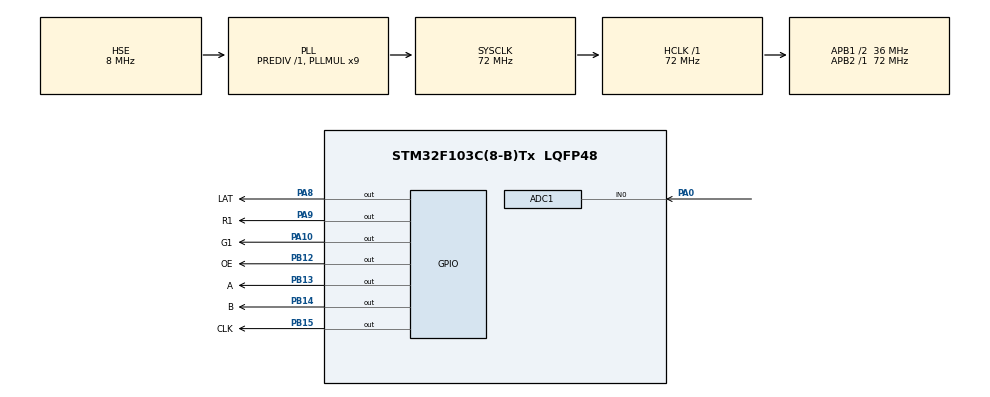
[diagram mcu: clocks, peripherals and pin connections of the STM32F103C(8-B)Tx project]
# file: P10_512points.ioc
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ADC1.Channel-0\#ChannelRegularConversion=ADC_CHANNEL_0
ADC1.NbrOfConversionFlag=1
ADC1.Rank-0\#ChannelRegularConversion=1
ADC1.SamplingTime-0\#ChannelRegularConversion=ADC_SAMPLETIME_1CYCLE_5
ADC1.master=1
Mcu.Family=STM32F1
Mcu.Name=STM32F103C(8-B)Tx
Mcu.Package=LQFP48
NVIC.PriorityGroup=NVIC_PRIORITYGROUP_4
NVIC.TIM2_IRQn=true\:0\:0\:false\:false\:true\:true
NVIC.TIM3_IRQn=true\:0\:0\:false\:false\:true\:true
PA0-WKUP.Signal=ADCx_IN0
PA10.GPIO_Label=G1
PA10.GPIO_ModeDefaultOutputPP=GPIO_MODE_OUTPUT_PP
PA10.GPIO_PuPd=GPIO_PULLUP
PA10.GPIO_Speed=GPIO_SPEED_FREQ_HIGH
PA10.PinState=GPIO_PIN_SET
PA10.Signal=GPIO_Output
PA13.Mode=Serial_Wire
PA13.Signal=SYS_JTMS-SWDIO
PA14.Mode=Serial_Wire
PA14.Signal=SYS_JTCK-SWCLK
PA8.GPIO_Label=LAT
PA8.GPIO_ModeDefaultOutputPP=GPIO_MODE_OUTPUT_PP
PA8.GPIO_PuPd=GPIO_PULLUP
PA8.GPIO_Speed=GPIO_SPEED_FREQ_HIGH
PA8.PinState=GPIO_PIN_SET
PA8.Signal=GPIO_Output
PA9.GPIO_Label=R1
PA9.GPIO_ModeDefaultOutputPP=GPIO_MODE_OUTPUT_PP
PA9.GPIO_PuPd=GPIO_PULLUP
PA9.GPIO_Speed=GPIO_SPEED_FREQ_HIGH
PA9.PinState=GPIO_PIN_SET
PA9.Signal=GPIO_Output
PB12.GPIO_Label=OE
PB12.GPIO_ModeDefaultOutputPP=GPIO_MODE_OUTPUT_PP
PB12.GPIO_PuPd=GPIO_PULLUP
PB12.GPIO_Speed=GPIO_SPEED_FREQ_HIGH
PB12.PinState=GPIO_PIN_SET
PB12.Signal=GPIO_Output
PB13.GPIO_Label=A
PB13.GPIO_ModeDefaultOutputPP=GPIO_MODE_OUTPUT_PP
PB13.GPIO_PuPd=GPIO_PULLUP
PB13.GPIO_Speed=GPIO_SPEED_FREQ_HIGH
PB13.PinState=GPIO_PIN_SET
PB13.Signal=GPIO_Output
PB14.GPIO_Label=B
PB14.GPIO_ModeDefaultOutputPP=GPIO_MODE_OUTPUT_PP
PB14.GPIO_PuPd=GPIO_PULLUP
PB14.GPIO_Speed=GPIO_SPEED_FREQ_HIGH
PB14.PinState=GPIO_PIN_SET
PB14.Signal=GPIO_Output
PB15.GPIO_Label=CLK
PB15.GPIO_ModeDefaultOutputPP=GPIO_MODE_OUTPUT_PP
PB15.GPIO_PuPd=GPIO_PULLUP
PB15.GPIO_Speed=GPIO_SPEED_FREQ_HIGH
PB15.PinState=GPIO_PIN_SET
PB15.Signal=GPIO_Output
PD0-OSC_IN.Mode=HSE-External-Oscillator
PD0-OSC_IN.Signal=RCC_OSC_IN
PD1-OSC_OUT.Mode=HSE-External-Oscillator
PD1-OSC_OUT.Signal=RCC_OSC_OUT
ProjectManager.HeapSize=0x200
ProjectManager.StackSize=0x400
ProjectManager.TargetToolchain=MDK-ARM V5
RCC.ADCPresc=RCC_ADCPCLK2_DIV6
RCC.AHBFreq_Value=72000000
RCC.APB1CLKDivider=RCC_HCLK_DIV2
RCC.APB1Freq_Value=36000000
RCC.APB1TimFreq_Value=72000000
RCC.APB2Freq_Value=72000000
RCC.APB2TimFreq_Value=72000000
RCC.HCLKFreq_Value=72000000
RCC.PLLMUL=RCC_PLL_MUL9
RCC.PLLSourceVirtual=RCC_PLLSOURCE_HSE
RCC.SYSCLKFreq_VALUE=72000000
RCC.SYSCLKSource=RCC_SYSCLKSOURCE_PLLCLK
RCC.USBFreq_Value=72000000
SH.ADCx_IN0.0=ADC1_IN0,IN0
TIM2.AutoReloadPreload=TIM_AUTORELOAD_PRELOAD_ENABLE
TIM2.Period=299
TIM2.Prescaler=72
TIM3.AutoReloadPreload=TIM_AUTORELOAD_PRELOAD_ENABLE
TIM3.Period=25
TIM3.Prescaler=72
VP_TIM2_VS_ClockSourceINT.Mode=Internal
VP_TIM3_VS_ClockSourceINT.Mode=Internal
board=custom

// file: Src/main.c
/**
  ******************************************************************************
  * @file           : main.c
  * @brief          : Main program body
  ******************************************************************************
  ** This notice applies to any and all portions of this file
  * that are not between comment pairs USER CODE BEGIN and
  * USER CODE END. Other portions of this file, whether
  * inserted by the user or by software development tools
  * are owned by their respective copyright owners.
  *
  * COPYRIGHT(c) 2018 STMicroelectronics
  *
  * Redistribution and use in source and binary forms, with or without modification,
  * are permitted provided that the following conditions are met:
  *   1. Redistributions of source code must retain the above copyright notice,
  *      this list of conditions and the following disclaimer.
  *   2. Redistributions in binary form must reproduce the above copyright notice,
  *      this list of conditions and the following disclaimer in the documentation
  *      and/or other materials provided with the distribution.
  *   3. Neither the name of STMicroelectronics nor the names of its contributors
  *      may be used to endorse or promote products derived from this software
  *      without specific prior written permission.
  *
  * THIS SOFTWARE IS PROVIDED BY THE COPYRIGHT HOLDERS AND CONTRIBUTORS "AS IS"
  * AND ANY EXPRESS OR IMPLIED WARRANTIES, INCLUDING, BUT NOT LIMITED TO, THE
  * IMPLIED WARRANTIES OF MERCHANTABILITY AND FITNESS FOR A PARTICULAR PURPOSE ARE
  * DISCLAIMED. IN NO EVENT SHALL THE COPYRIGHT HOLDER OR CONTRIBUTORS BE LIABLE
  * FOR ANY DIRECT, INDIRECT, INCIDENTAL, SPECIAL, EXEMPLARY, OR CONSEQUENTIAL
  * DAMAGES (INCLUDING, BUT NOT LIMITED TO, PROCUREMENT OF SUBSTITUTE GOODS OR
  * SERVICES; LOSS OF USE, DATA, OR PROFITS; OR BUSINESS INTERRUPTION) HOWEVER
  * CAUSED AND ON ANY THEORY OF LIABILITY, WHETHER IN CONTRACT, STRICT LIABILITY,
  * OR TORT (INCLUDING NEGLIGENCE OR OTHERWISE) ARISING IN ANY WAY OUT OF THE USE
  * OF THIS SOFTWARE, EVEN IF ADVISED OF THE POSSIBILITY OF SUCH DAMAGE.
  *
  ******************************************************************************
  */
#include "main.h"
#include "stm32f1xx_hal.h"
#include "adc.h"
#include "tim.h"
#include "gpio.h"

/* USER CODE BEGIN Includes */
#include <math.h>

#define PI      				 3.1415926535897
#define N_point     		 512
#define N_freq       		 N_point/2 // frequency N_freq = 0 is DC signal
#define FP_PRECISION 		 8
#define FP_MASK 			 	 ((1<<FP_PRECISION) - 1)
#define FP__MUL(A, B)    ((int16_t)(((int32_t)(A) * (int32_t)(B)) >> FP_PRECISION))

#define log2N 9

#define OE_DIS     HAL_GPIO_WritePin(OE_GPIO_Port,  OE_Pin,  GPIO_PIN_SET)
#define OE_EN      HAL_GPIO_WritePin(OE_GPIO_Port,  OE_Pin,  GPIO_PIN_RESET)
#define A_SET      HAL_GPIO_WritePin(A_GPIO_Port,   A_Pin,   GPIO_PIN_SET)
#define A_RESET    HAL_GPIO_WritePin(A_GPIO_Port,   A_Pin,   GPIO_PIN_RESET)
#define B_SET      HAL_GPIO_WritePin(B_GPIO_Port,   B_Pin,   GPIO_PIN_SET)
#define B_RESET    HAL_GPIO_WritePin(B_GPIO_Port,   B_Pin,   GPIO_PIN_RESET)
#define CLK_SET    HAL_GPIO_WritePin(CLK_GPIO_Port, CLK_Pin, GPIO_PIN_SET)
#define CLK_RESET  HAL_GPIO_WritePin(CLK_GPIO_Port, CLK_Pin, GPIO_PIN_RESET)
#define LAT_SET    HAL_GPIO_WritePin(LAT_GPIO_Port, LAT_Pin, GPIO_PIN_SET)
#define LAT_RESET  HAL_GPIO_WritePin(LAT_GPIO_Port, LAT_Pin, GPIO_PIN_RESET)
#define R1_SET     HAL_GPIO_WritePin(R1_GPIO_Port,  R1_Pin,  GPIO_PIN_SET)
#define R1_RESET   HAL_GPIO_WritePin(R1_GPIO_Port,  R1_Pin,  GPIO_PIN_RESET)
#define G1_SET     HAL_GPIO_WritePin(G1_GPIO_Port,  G1_Pin,  GPIO_PIN_SET)
#define G1_RESET   HAL_GPIO_WritePin(G1_GPIO_Port,  G1_Pin,  GPIO_PIN_RESET)

#define chonHang(h)  (0x02&h)?B_SET:B_RESET; \
                     (0x01&h)?A_SET:A_RESET; \
                      OE_EN

/* USER CODE END Includes */

/* USER CODE BEGIN PV */
/* Private variables ---------------------------------------------------------*/
uint8_t  LED1[16][32];
uint8_t  LED2[16][32];
int16_t xn[N_point];
//int16_t buffer[N_point];
uint8_t  sampleDone;
/* USER CODE END PV */

void SystemClock_Config(void);

/* USER CODE BEGIN PFP */
/* Private function prototypes -----------------------------------------------*/

/* USER CODE END PFP */

/* USER CODE BEGIN 0 */

const uint16_t bitRevTable512[512] =
{
    0x0000, 0x0100, 0x0080, 0x0180, 0x0040, 0x0140, 0x00C0, 0x01C0,
    0x0020, 0x0120, 0x00A0, 0x01A0, 0x0060, 0x0160, 0x00E0, 0x01E0,
    0x0010, 0x0110, 0x0090, 0x0190, 0x0050, 0x0150, 0x00D0, 0x01D0,
    0x0030, 0x0130, 0x00B0, 0x01B0, 0x0070, 0x0170, 0x00F0, 0x01F0,
    0x0008, 0x0108, 0x0088, 0x0188, 0x0048, 0x0148, 0x00C8, 0x01C8,
    0x0028, 0x0128, 0x00A8, 0x01A8, 0x0068, 0x0168, 0x00E8, 0x01E8,
    0x0018, 0x0118, 0x0098, 0x0198, 0x0058, 0x0158, 0x00D8, 0x01D8,
    0x0038, 0x0138, 0x00B8, 0x01B8, 0x0078, 0x0178, 0x00F8, 0x01F8,
    0x0004, 0x0104, 0x0084, 0x0184, 0x0044, 0x0144, 0x00C4, 0x01C4,
    0x0024, 0x0124, 0x00A4, 0x01A4, 0x0064, 0x0164, 0x00E4, 0x01E4,
    0x0014, 0x0114, 0x0094, 0x0194, 0x0054, 0x0154, 0x00D4, 0x01D4,
    0x0034, 0x0134, 0x00B4, 0x01B4, 0x0074, 0x0174, 0x00F4, 0x01F4,
    0x000C, 0x010C, 0x008C, 0x018C, 0x004C, 0x014C, 0x00CC, 0x01CC,
    0x002C, 0x012C, 0x00AC, 0x01AC, 0x006C, 0x016C, 0x00EC, 0x01EC,
    0x001C, 0x011C, 0x009C, 0x019C, 0x005C, 0x015C, 0x00DC, 0x01DC,
    0x003C, 0x013C, 0x00BC, 0x01BC, 0x007C, 0x017C, 0x00FC, 0x01FC,
    0x0002, 0x0102, 0x0082, 0x0182, 0x0042, 0x0142, 0x00C2, 0x01C2,
    0x0022, 0x0122, 0x00A2, 0x01A2, 0x0062, 0x0162, 0x00E2, 0x01E2,
    0x0012, 0x0112, 0x0092, 0x0192, 0x0052, 0x0152, 0x00D2, 0x01D2,
    0x0032, 0x0132, 0x00B2, 0x01B2, 0x0072, 0x0172, 0x00F2, 0x01F2,
    0x000A, 0x010A, 0x008A, 0x018A, 0x004A, 0x014A, 0x00CA, 0x01CA,
    0x002A, 0x012A, 0x00AA, 0x01AA, 0x006A, 0x016A, 0x00EA, 0x01EA,
    0x001A, 0x011A, 0x009A, 0x019A, 0x005A, 0x015A, 0x00DA, 0x01DA,
    0x003A, 0x013A, 0x00BA, 0x01BA, 0x007A, 0x017A, 0x00FA, 0x01FA,
    0x0006, 0x0106, 0x0086, 0x0186, 0x0046, 0x0146, 0x00C6, 0x01C6,
    0x0026, 0x0126, 0x00A6, 0x01A6, 0x0066, 0x0166, 0x00E6, 0x01E6,
    0x0016, 0x0116, 0x0096, 0x0196, 0x0056, 0x0156, 0x00D6, 0x01D6,
    0x0036, 0x0136, 0x00B6, 0x01B6, 0x0076, 0x0176, 0x00F6, 0x01F6,
    0x000E, 0x010E, 0x008E, 0x018E, 0x004E, 0x014E, 0x00CE, 0x01CE,
    0x002E, 0x012E, 0x00AE, 0x01AE, 0x006E, 0x016E, 0x00EE, 0x01EE,
    0x001E, 0x011E, 0x009E, 0x019E, 0x005E, 0x015E, 0x00DE, 0x01DE,
    0x003E, 0x013E, 0x00BE, 0x01BE, 0x007E, 0x017E, 0x00FE, 0x01FE,
    0x0001, 0x0101, 0x0081, 0x0181, 0x0041, 0x0141, 0x00C1, 0x01C1,
    0x0021, 0x0121, 0x00A1, 0x01A1, 0x0061, 0x0161, 0x00E1, 0x01E1,
    0x0011, 0x0111, 0x0091, 0x0191, 0x0051, 0x0151, 0x00D1, 0x01D1,
    0x0031, 0x0131, 0x00B1, 0x01B1, 0x0071, 0x0171, 0x00F1, 0x01F1,
    0x0009, 0x0109, 0x0089, 0x0189, 0x0049, 0x0149, 0x00C9, 0x01C9,
    0x0029, 0x0129, 0x00A9, 0x01A9, 0x0069, 0x0169, 0x00E9, 0x01E9,
    0x0019, 0x0119, 0x0099, 0x0199, 0x0059, 0x0159, 0x00D9, 0x01D9,
    0x0039, 0x0139, 0x00B9, 0x01B9, 0x0079, 0x0179, 0x00F9, 0x01F9,
    0x0005, 0x0105, 0x0085, 0x0185, 0x0045, 0x0145, 0x00C5, 0x01C5,
    0x0025, 0x0125, 0x00A5, 0x01A5, 0x0065, 0x0165, 0x00E5, 0x01E5,
    0x0015, 0x0115, 0x0095, 0x0195, 0x0055, 0x0155, 0x00D5, 0x01D5,
    0x0035, 0x0135, 0x00B5, 0x01B5, 0x0075, 0x0175, 0x00F5, 0x01F5,
    0x000D, 0x010D, 0x008D, 0x018D, 0x004D, 0x014D, 0x00CD, 0x01CD,
    0x002D, 0x012D, 0x00AD, 0x01AD, 0x006D, 0x016D, 0x00ED, 0x01ED,
    0x001D, 0x011D, 0x009D, 0x019D, 0x005D, 0x015D, 0x00DD, 0x01DD,
    0x003D, 0x013D, 0x00BD, 0x01BD, 0x007D, 0x017D, 0x00FD, 0x01FD,
    0x0003, 0x0103, 0x0083, 0x0183, 0x0043, 0x0143, 0x00C3, 0x01C3,
    0x0023, 0x0123, 0x00A3, 0x01A3, 0x0063, 0x0163, 0x00E3, 0x01E3,
    0x0013, 0x0113, 0x0093, 0x0193, 0x0053, 0x0153, 0x00D3, 0x01D3,
    0x0033, 0x0133, 0x00B3, 0x01B3, 0x0073, 0x0173, 0x00F3, 0x01F3,
    0x000B, 0x010B, 0x008B, 0x018B, 0x004B, 0x014B, 0x00CB, 0x01CB,
    0x002B, 0x012B, 0x00AB, 0x01AB, 0x006B, 0x016B, 0x00EB, 0x01EB,
    0x001B, 0x011B, 0x009B, 0x019B, 0x005B, 0x015B, 0x00DB, 0x01DB,
    0x003B, 0x013B, 0x00BB, 0x01BB, 0x007B, 0x017B, 0x00FB, 0x01FB,
    0x0007, 0x0107, 0x0087, 0x0187, 0x0047, 0x0147, 0x00C7, 0x01C7,
    0x0027, 0x0127, 0x00A7, 0x01A7, 0x0067, 0x0167, 0x00E7, 0x01E7,
    0x0017, 0x0117, 0x0097, 0x0197, 0x0057, 0x0157, 0x00D7, 0x01D7,
    0x0037, 0x0137, 0x00B7, 0x01B7, 0x0077, 0x0177, 0x00F7, 0x01F7,
    0x000F, 0x010F, 0x008F, 0x018F, 0x004F, 0x014F, 0x00CF, 0x01CF,
    0x002F, 0x012F, 0x00AF, 0x01AF, 0x006F, 0x016F, 0x00EF, 0x01EF,
    0x001F, 0x011F, 0x009F, 0x019F, 0x005F, 0x015F, 0x00DF, 0x01DF,
    0x003F, 0x013F, 0x00BF, 0x01BF, 0x007F, 0x017F, 0x00FF, 0x01FF
};

const int16_t cosTable[512] =
{
		0xff,		0xff,		0xff,		0xff,		0xff,		0xff,		0xff,		0xff,
		0xfe,		0xfe,		0xfe,		0xfd,		0xfd,		0xfc,		0xfc,		0xfb,
		0xfb,		0xfa,		0xf9,		0xf9,		0xf8,		0xf7,		0xf6,		0xf5,
		0xf4,		0xf4,		0xf3,		0xf2,		0xf1,		0xef,		0xee,		0xed,
		0xec,		0xeb,		0xea,		0xe8,		0xe7,		0xe6,		0xe4,		0xe3,
		0xe1,		0xe0,		0xde,		0xdd,		0xdb,		0xd9,		0xd8,		0xd6,
		0xd4,		0xd3,		0xd1,		0xcf,		0xcd,		0xcb,		0xc9,		0xc7,
		0xc5,		0xc3,		0xc1,		0xbf,		0xbd,		0xbb,		0xb9,		0xb7,
		0xb5,		0xb2,		0xb0,		0xae,		0xab,		0xa9,		0xa7,		0xa4,
		0xa2,		0x9f,		0x9d,		0x9b,		0x98,		0x95,		0x93,		0x90,
		0x8e,		0x8b,		0x88,		0x86,		0x83,		0x80,		0x7e,		0x7b,
		0x78,		0x75,		0x73,		0x70,		0x6d,		0x6a,		0x67,		0x64,
		0x61,		0x5f,		0x5c,		0x59,		0x56,		0x53,		0x50,		0x4d,
		0x4a,		0x47,		0x44,		0x41,		0x3e,		0x3b,		0x38,		0x35,
		0x31,		0x2e,		0x2b,		0x28,		0x25,		0x22,		0x1f,		0x1c,
		0x19,		0x15,		0x12,		0xf,		0xc,		0x9,		0x6,		0x3,
		0x0,		0xfffd,	0xfffa,	0xfff7,	0xfff4,	0xfff1,	0xffee,	0xffeb,
		0xffe7,	0xffe4,	0xffe1,	0xffde,	0xffdb,	0xffd8,	0xffd5,	0xffd2,
		0xffcf,	0xffcb,	0xffc8,	0xffc5,	0xffc2,	0xffbf,	0xffbc,	0xffb9,
		0xffb6,	0xffb3,	0xffb0,	0xffad,	0xffaa,	0xffa7,	0xffa4,	0xffa1,
		0xff9f,	0xff9c,	0xff99,	0xff96,	0xff93,	0xff90,	0xff8d,	0xff8b,
		0xff88,	0xff85,	0xff82,	0xff80,	0xff7d,	0xff7a,	0xff78,	0xff75,
		0xff72,	0xff70,	0xff6d,	0xff6b,	0xff68,	0xff65,	0xff63,	0xff61,
		0xff5e,	0xff5c,	0xff59,	0xff57,	0xff55,	0xff52,	0xff50,	0xff4e,
		0xff4b,	0xff49,	0xff47,	0xff45,	0xff43,	0xff41,	0xff3f,	0xff3d,
		0xff3b,	0xff39,	0xff37,	0xff35,	0xff33,	0xff31,	0xff2f,	0xff2d,
		0xff2c,	0xff2a,	0xff28,	0xff27,	0xff25,	0xff23,	0xff22,	0xff20,
		0xff1f,	0xff1d,	0xff1c,	0xff1a,	0xff19,	0xff18,	0xff16,	0xff15,
		0xff14,	0xff13,	0xff12,	0xff11,	0xff0f,	0xff0e,	0xff0d,	0xff0c,
		0xff0c,	0xff0b,	0xff0a,	0xff09,	0xff08,	0xff07,	0xff07,	0xff06,
		0xff05,	0xff05,	0xff04,	0xff04,	0xff03,	0xff03,	0xff02,	0xff02,
		0xff02,	0xff01,	0xff01,	0xff01,	0xff01,	0xff01,	0xff01,	0xff01,
		0xff00,	0xff01,	0xff01,	0xff01,	0xff01,	0xff01,	0xff01,	0xff01,
		0xff02,	0xff02,	0xff02,	0xff03,	0xff03,	0xff04,	0xff04,	0xff05,
		0xff05,	0xff06,	0xff07,	0xff07,	0xff08,	0xff09,	0xff0a,	0xff0b,
		0xff0c,	0xff0c,	0xff0d,	0xff0e,	0xff0f,	0xff11,	0xff12,	0xff13,
		0xff14,	0xff15,	0xff16,	0xff18,	0xff19,	0xff1a,	0xff1c,	0xff1d,
		0xff1f,	0xff20,	0xff22,	0xff23,	0xff25,	0xff27,	0xff28,	0xff2a,
		0xff2c,	0xff2d,	0xff2f,	0xff31,	0xff33,	0xff35,	0xff37,	0xff39,
		0xff3b,	0xff3d,	0xff3f,	0xff41,	0xff43,	0xff45,	0xff47,	0xff49,
		0xff4b,	0xff4e,	0xff50,	0xff52,	0xff55,	0xff57,	0xff59,	0xff5c,
		0xff5e,	0xff61,	0xff63,	0xff65,	0xff68,	0xff6b,	0xff6d,	0xff70,
		0xff72,	0xff75,	0xff78,	0xff7a,	0xff7d,	0xff80,	0xff82,	0xff85,
		0xff88,	0xff8b,	0xff8d,	0xff90,	0xff93,	0xff96,	0xff99,	0xff9c,
		0xff9f,	0xffa1,	0xffa4,	0xffa7,	0xffaa,	0xffad,	0xffb0,	0xffb3,
		0xffb6,	0xffb9,	0xffbc,	0xffbf,	0xffc2,	0xffc5,	0xffc8,	0xffcb,
		0xffcf,	0xffd2,	0xffd5,	0xffd8,	0xffdb,	0xffde,	0xffe1,	0xffe4,
		0xffe7,	0xffeb,	0xffee,	0xfff1,	0xfff4,	0xfff7,	0xfffa,	0xfffd,
		0x0,		0x3,		0x6,		0x9,		0xc,		0xf,		0x12,		0x15,
		0x19,		0x1c,		0x1f,		0x22,		0x25,		0x28,		0x2b,		0x2e,
		0x31,		0x35,		0x38,		0x3b,		0x3e,		0x41,		0x44,		0x47,
		0x4a,		0x4d,		0x50,		0x53,		0x56,		0x59,		0x5c,		0x5f,
		0x61,		0x64,		0x67,		0x6a,		0x6d,		0x70,		0x73,		0x75,
		0x78,		0x7b,		0x7e,		0x80,		0x83,		0x86,		0x88,		0x8b,
		0x8e,		0x90,		0x93,		0x95,		0x98,		0x9b,		0x9d,		0x9f,
		0xa2,		0xa4,		0xa7,		0xa9,		0xab,		0xae,		0xb0,		0xb2,
		0xb5,		0xb7,		0xb9,		0xbb,		0xbd,		0xbf,		0xc1,		0xc3,
		0xc5,		0xc7,		0xc9,		0xcb,		0xcd,		0xcf,		0xd1,		0xd3,
		0xd4,		0xd6,		0xd8,		0xd9,		0xdb,		0xdd,		0xde,		0xe0,
		0xe1,		0xe3,		0xe4,		0xe6,		0xe7,		0xe8,		0xea,		0xeb,
		0xec,		0xed,		0xee,		0xef,		0xf1,		0xf2,		0xf3,		0xf4,
		0xf4,		0xf5,		0xf6,		0xf7,		0xf8,		0xf9,		0xf9,		0xfa,
		0xfb,		0xfb,		0xfc,		0xfc,		0xfd,		0xfd,		0xfe,		0xfe,
		0xfe,		0xff,		0xff,		0xff,		0xff,		0xff,		0xff,		0xff
};

const int16_t sinTable[512] =
{
		0x0,		0xfffd,	0xfffa,	0xfff7,	0xfff4,	0xfff1,	0xffee,	0xffeb,
		0xffe7,	0xffe4,	0xffe1,	0xffde,	0xffdb,	0xffd8,	0xffd5,	0xffd2,
		0xffcf,	0xffcb,	0xffc8,	0xffc5,	0xffc2,	0xffbf,	0xffbc,	0xffb9,
		0xffb6,	0xffb3,	0xffb0,	0xffad,	0xffaa,	0xffa7,	0xffa4,	0xffa1,
		0xff9f,	0xff9c,	0xff99,	0xff96,	0xff93,	0xff90,	0xff8d,	0xff8b,
		0xff88,	0xff85,	0xff82,	0xff80,	0xff7d,	0xff7a,	0xff78,	0xff75,
		0xff72,	0xff70,	0xff6d,	0xff6b,	0xff68,	0xff65,	0xff63,	0xff61,
		0xff5e,	0xff5c,	0xff59,	0xff57,	0xff55,	0xff52,	0xff50,	0xff4e,
		0xff4b,	0xff49,	0xff47,	0xff45,	0xff43,	0xff41,	0xff3f,	0xff3d,
		0xff3b,	0xff39,	0xff37,	0xff35,	0xff33,	0xff31,	0xff2f,	0xff2d,
		0xff2c,	0xff2a,	0xff28,	0xff27,	0xff25,	0xff23,	0xff22,	0xff20,
		0xff1f,	0xff1d,	0xff1c,	0xff1a,	0xff19,	0xff18,	0xff16,	0xff15,
		0xff14,	0xff13,	0xff12,	0xff11,	0xff0f,	0xff0e,	0xff0d,	0xff0c,
		0xff0c,	0xff0b,	0xff0a,	0xff09,	0xff08,	0xff07,	0xff07,	0xff06,
		0xff05,	0xff05,	0xff04,	0xff04,	0xff03,	0xff03,	0xff02,	0xff02,
		0xff02,	0xff01,	0xff01,	0xff01,	0xff01,	0xff01,	0xff01,	0xff01,
		0xff00,	0xff01,	0xff01,	0xff01,	0xff01,	0xff01,	0xff01,	0xff01,
		0xff02,	0xff02,	0xff02,	0xff03,	0xff03,	0xff04,	0xff04,	0xff05,
		0xff05,	0xff06,	0xff07,	0xff07,	0xff08,	0xff09,	0xff0a,	0xff0b,
		0xff0c,	0xff0c,	0xff0d,	0xff0e,	0xff0f,	0xff11,	0xff12,	0xff13,
		0xff14,	0xff15,	0xff16,	0xff18,	0xff19,	0xff1a,	0xff1c,	0xff1d,
		0xff1f,	0xff20,	0xff22,	0xff23,	0xff25,	0xff27,	0xff28,	0xff2a,
		0xff2c,	0xff2d,	0xff2f,	0xff31,	0xff33,	0xff35,	0xff37,	0xff39,
		0xff3b,	0xff3d,	0xff3f,	0xff41,	0xff43,	0xff45,	0xff47,	0xff49,
		0xff4b,	0xff4e,	0xff50,	0xff52,	0xff55,	0xff57,	0xff59,	0xff5c,
		0xff5e,	0xff61,	0xff63,	0xff65,	0xff68,	0xff6b,	0xff6d,	0xff70,
		0xff72,	0xff75,	0xff78,	0xff7a,	0xff7d,	0xff80,	0xff82,	0xff85,
		0xff88,	0xff8b,	0xff8d,	0xff90,	0xff93,	0xff96,	0xff99,	0xff9c,
		0xff9f,	0xffa1,	0xffa4,	0xffa7,	0xffaa,	0xffad,	0xffb0,	0xffb3,
		0xffb6,	0xffb9,	0xffbc,	0xffbf,	0xffc2,	0xffc5,	0xffc8,	0xffcb,
		0xffcf,	0xffd2,	0xffd5,	0xffd8,	0xffdb,	0xffde,	0xffe1,	0xffe4,
		0xffe7,	0xffeb,	0xffee,	0xfff1,	0xfff4,	0xfff7,	0xfffa,	0xfffd,
		0x0,		0x3,		0x6,		0x9,		0xc,		0xf,		0x12,		0x15,
		0x19,		0x1c,		0x1f,		0x22,		0x25,		0x28,		0x2b,		0x2e,
		0x31,		0x35,		0x38,		0x3b,		0x3e,		0x41,		0x44,		0x47,
		0x4a,		0x4d,		0x50,		0x53,		0x56,		0x59,		0x5c,		0x5f,
		0x61,		0x64,		0x67,		0x6a,		0x6d,		0x70,		0x73,		0x75,
		0x78,		0x7b,		0x7e,		0x80,		0x83,		0x86,		0x88,		0x8b,
		0x8e,		0x90,		0x93,		0x95,		0x98,		0x9b,		0x9d,		0x9f,
		0xa2,		0xa4,		0xa7,		0xa9,		0xab,		0xae,		0xb0,		0xb2,
		0xb5,		0xb7,		0xb9,		0xbb,		0xbd,		0xbf,		0xc1,		0xc3,
		0xc5,		0xc7,		0xc9,		0xcb,		0xcd,		0xcf,		0xd1,		0xd3,
		0xd4,		0xd6,		0xd8,		0xd9,		0xdb,		0xdd,		0xde,		0xe0,
		0xe1,		0xe3,		0xe4,		0xe6,		0xe7,		0xe8,		0xea,		0xeb,
		0xec,		0xed,		0xee,		0xef,		0xf1,		0xf2,		0xf3,		0xf4,
		0xf4,		0xf5,		0xf6,		0xf7,		0xf8,		0xf9,		0xf9,		0xfa,
		0xfb,		0xfb,		0xfc,		0xfc,		0xfd,		0xfd,		0xfe,		0xfe,
		0xfe,		0xff,		0xff,		0xff,		0xff,		0xff,		0xff,		0xff,
		0x100,	0xff,		0xff,		0xff,		0xff,		0xff,		0xff,		0xff,
		0xfe,		0xfe,		0xfe,		0xfd,		0xfd,		0xfc,		0xfc,		0xfb,
		0xfb,		0xfa,		0xf9,		0xf9,		0xf8,		0xf7,		0xf6,		0xf5,
		0xf4,		0xf4,		0xf3,		0xf2,		0xf1,		0xef,		0xee,		0xed,
		0xec,		0xeb,		0xea,		0xe8,		0xe7,		0xe6,		0xe4,		0xe3,
		0xe1,		0xe0,		0xde,		0xdd,		0xdb,		0xd9,		0xd8,		0xd6,
		0xd4,		0xd3,		0xd1,		0xcf,		0xcd,		0xcb,		0xc9,		0xc7,
		0xc5,		0xc3,		0xc1,		0xbf,		0xbd,		0xbb,		0xb9,		0xb7,
		0xb5,		0xb2,		0xb0,		0xae,		0xab,		0xa9,		0xa7,		0xa4,
		0xa2,		0x9f,		0x9d,		0x9b,		0x98,		0x95,		0x93,		0x90,
		0x8e,		0x8b,		0x88,		0x86,		0x83,		0x80,		0x7e,		0x7b,
		0x78,		0x75,		0x73,		0x70,		0x6d,		0x6a,		0x67,		0x64,
		0x61,		0x5f,		0x5c,		0x59,		0x56,		0x53,		0x50,		0x4d,
		0x4a,		0x47,		0x44,		0x41,		0x3e,		0x3b,		0x38,		0x35,
		0x31,		0x2e,		0x2b,		0x28,		0x25,		0x22,		0x1f,		0x1c,
		0x19,		0x15,		0x12,		0xf,		0xc,		0x9,		0x6,		0x3
};
/* define for FFT caculate */

void P10_scan(void)
{
	static uint8_t hang = 0;
	static uint8_t	count = 0;
	/* quet led */
	uint8_t x, y, z, temp1, temp2;
	OE_DIS;
	for(z = 0; z <= 16; z += 16)
	{
		for(y = 0; y <= 12; y += 4)
		{
			temp1 = hang+12-y;
			for(x = 0; x < 16; x++)
			{
				temp2 = x + z;
				LED1[temp1][temp2] > count ? R1_SET : R1_RESET; /* pin Red data   */
				LED2[temp1][temp2] > count ? G1_SET : G1_RESET; /* pin Green data */
				CLK_SET;
				CLK_RESET;
			}
		}
	}
	LAT_SET;
	LAT_RESET;
	chonHang(hang);
	if(++hang == 4)
	{
			hang = 0;
			if(++count == 15) count = 0;
	}
}

void P10_draw(int16_t *mag)
{
	uint16_t i, x;
	for(i = 1; i <= 32; i++)
	{
		if(mag[i] >= 16)
		{
			for(x = 16; x > 1; x--)
			{
				LED1[16 - x][i-1] = 15;
				LED2[16 - x][i-1] = 0;
			}
		}

		if(mag[i] < 16)
		{
			for(x = mag[i]; x > 1; x--)
			{
				LED1[16 - x][i-1] = 15;
				LED2[16 - x][i-1] = 0;
			}
			for(x = 16; x > mag[i]; x--) LED1[16 - x][i-1] = LED2[16 - x][i-1] = 0;
		}

		if(mag[i] == 0) { LED1[15][i-1] = 0; LED2[15][i-1] = 15; }
	}
}

uint16_t ADC_read(void)
{
	HAL_ADC_Start(&hadc1);
	while(!__HAL_ADC_GET_FLAG(&hadc1, ADC_FLAG_EOC));
	HAL_ADC_Stop(&hadc1);
	return (uint16_t)HAL_ADC_GetValue(&hadc1);
}

void FFT_calculate(int16_t *R)
{
	int16_t I[N_point];
	uint16_t step, temp3, temp, tem, k, j;
	for(k = 0; k < N_point; k++) I[k] = 0;
	for(step = 1; step <= log2N; step++)
	{
		temp3 = 1<<(step -1);
		for(k = 0; k < temp3; k++)
		{
			temp = 1<<(step);;
			tem = k*N_point/temp;
			int16_t WR = cosTable[tem];
			int16_t WI = sinTable[tem];
			for(j = 0; j < N_point; j+=temp)
			{
				int16_t tempR, tempI;
				tempR = FP__MUL(WR, R[j + temp3 + k]) - FP__MUL(WI, I[j + temp3 + k]);
				tempI = FP__MUL(WR, I[j + temp3 + k]) + FP__MUL(WI, R[j + temp3 + k]);

				R[j + temp3 + k]   = (R[j + k] - tempR);//WR * R[j + temp3 + k] + WI * I[j + temp3 + k];
				I[j + temp3 + k]   = (I[j + k] - tempI);//WR * I[j + temp3 + k] - WI * temp2;

				R[j + k]           = (R[j + k] + tempR);//WR * R[j + temp3 + k] - WI * I[j + temp3 + k];
				I[j + k]      	   = (I[j + k] + tempI);//WR * I[j + temp3 + k] + WI * temp2;
			}
		}
	}

	for(k = 1; k <= 32; k++)
	{
		R[k] = (int16_t)sqrt(R[k]*R[k] + I[k]*I[k]);
		R[k] >>= 6;
	}
}

//void FFT_calculate(int16_t *R, int16_t *I, uint16_t N)
//{
//	if(N >= 2)
//	{
//		N /= 2;
//		FFT_calculate(R,     I,     N);
//		FFT_calculate(R + N, I + N, N);

//		for(uint16_t k = 0; k < N; k++)
//		{
//			uint16_t tem = k*256/N;
//			int16_t WR = cosTable[tem];
//			int16_t WI = sinTable[tem];

//			/************************/
//			/*  Ek_re = R[k]        */
//			/*  Ek_im = R[k + N]  */
//			/*  Ok_re = I[k]        */
//			/*  Ok_im = I[k + N]  */
//			/************************/
//			int16_t tempR, tempI;
//			tempR = FP__MUL(WR, R[k + N]) - FP__MUL(WI, I[k + N]);
//			tempI = FP__MUL(WR, I[k + N]) + FP__MUL(WI, R[k + N]);
//
//			R[k + N] = (R[k] - tempR);
//			I[k + N] = (I[k] - tempI);
//
//			R[k]     = (R[k] + tempR);
//			I[k]     = (I[k] + tempI);
//
////			//Tranh overflow
////			R[k + N] = (R[k] - tempR)>>1;
////			I[k + N] = (I[k] - tempI)>>1;
////
////			R[k]     = (R[k] + tempR)>>1;
////			I[k]     = (I[k] + tempI)>>1;
//		}
//	}
//}

//void mag(int16_t *R, int16_t *I)
//{
//	uint16_t k;
//	for(k = 1; k <= 32; k++)
//	{
//		R[k] = (int16_t)sqrt(R[k]*R[k] + I[k]*I[k]);
//		R[k] >>= 6;
//	}
//}

void HAL_TIM_PeriodElapsedCallback(TIM_HandleTypeDef *htim)
{
	if(htim->Instance == htim2.Instance)
	{
		P10_scan();
	}

	else
	if(htim->Instance == htim3.Instance)  // sample 512 points at 38kHz
	{
		uint16_t adc_value;
		static uint16_t cnt = 0;
		adc_value = ADC_read()>>2;  // >>2 10bit value
	  if(sampleDone == 0)
	  {
		  xn[bitRevTable512[cnt]] = adc_value;
			//buffer[cnt] = 0;
		  cnt++;
		  if(cnt > N_point)
		  {
			  sampleDone = 1;
			  cnt = 0;
		  }
	  }
	}
}
/* USER CODE END 0 */

int main(void)
{

  /* MCU Configuration----------------------------------------------------------*/

  /* Reset of all peripherals, Initializes the Flash interface and the Systick. */
  HAL_Init();

  /* Configure the system clock */
  SystemClock_Config();

  /* Initialize all configured peripherals */
  MX_GPIO_Init();
  MX_TIM2_Init();
  MX_TIM3_Init();
  MX_ADC1_Init();
  /* USER CODE BEGIN 2 */
	for(uint8_t i = 0; i < 32; i++)
	{ LED1[15][i] = 0; LED2[15][i] = 15; }
	HAL_TIM_Base_Start_IT(&htim2);
	HAL_TIM_Base_Start_IT(&htim3);
  /* USER CODE END 2 */

  /* Infinite loop */
  while (1)
  {

  /* USER CODE BEGIN 3 */
		while(!sampleDone);
		HAL_TIM_Base_Stop_IT(&htim3);
		FFT_calculate(xn);
//		FFT_calculate(xn, buffer, N_point);
//		mag(xn, buffer);
		P10_draw(xn);
		//P10_effect1(g_xn);
		sampleDone = 0;
		HAL_TIM_Base_Start_IT(&htim3);
  }
  /* USER CODE END 3 */

}

void SystemClock_Config(void)
{

  RCC_OscInitTypeDef RCC_OscInitStruct;
  RCC_ClkInitTypeDef RCC_ClkInitStruct;
  RCC_PeriphCLKInitTypeDef PeriphClkInit;

    /**Initializes the CPU, AHB and APB busses clocks
    */
  RCC_OscInitStruct.OscillatorType = RCC_OSCILLATORTYPE_HSE;
  RCC_OscInitStruct.HSEState = RCC_HSE_ON;
  RCC_OscInitStruct.HSEPredivValue = RCC_HSE_PREDIV_DIV1;
  RCC_OscInitStruct.HSIState = RCC_HSI_ON;
  RCC_OscInitStruct.PLL.PLLState = RCC_PLL_ON;
  RCC_OscInitStruct.PLL.PLLSource = RCC_PLLSOURCE_HSE;
  RCC_OscInitStruct.PLL.PLLMUL = RCC_PLL_MUL9;
  if (HAL_RCC_OscConfig(&RCC_OscInitStruct) != HAL_OK)
  {
    _Error_Handler(__FILE__, __LINE__);
  }

    /**Initializes the CPU, AHB and APB busses clocks
    */
  RCC_ClkInitStruct.ClockType = RCC_CLOCKTYPE_HCLK|RCC_CLOCKTYPE_SYSCLK
                              |RCC_CLOCKTYPE_PCLK1|RCC_CLOCKTYPE_PCLK2;
  RCC_ClkInitStruct.SYSCLKSource = RCC_SYSCLKSOURCE_PLLCLK;
  RCC_ClkInitStruct.AHBCLKDivider = RCC_SYSCLK_DIV1;
  RCC_ClkInitStruct.APB1CLKDivider = RCC_HCLK_DIV2;
  RCC_ClkInitStruct.APB2CLKDivider = RCC_HCLK_DIV1;

  if (HAL_RCC_ClockConfig(&RCC_ClkInitStruct, FLASH_LATENCY_2) != HAL_OK)
  {
    _Error_Handler(__FILE__, __LINE__);
  }

  PeriphClkInit.PeriphClockSelection = RCC_PERIPHCLK_ADC;
  PeriphClkInit.AdcClockSelection = RCC_ADCPCLK2_DIV6;
  if (HAL_RCCEx_PeriphCLKConfig(&PeriphClkInit) != HAL_OK)
  {
    _Error_Handler(__FILE__, __LINE__);
  }

    /**Configure the Systick interrupt time
    */
  HAL_SYSTICK_Config(HAL_RCC_GetHCLKFreq()/1000);

    /**Configure the Systick
    */
  HAL_SYSTICK_CLKSourceConfig(SYSTICK_CLKSOURCE_HCLK);

  /* SysTick_IRQn interrupt configuration */
  HAL_NVIC_SetPriority(SysTick_IRQn, 0, 0);
}

void _Error_Handler(char *file, int line)
{
  while(1)
  {
  }
}

/************************ (C) COPYRIGHT STMicroelectronics *****END OF FILE****/
